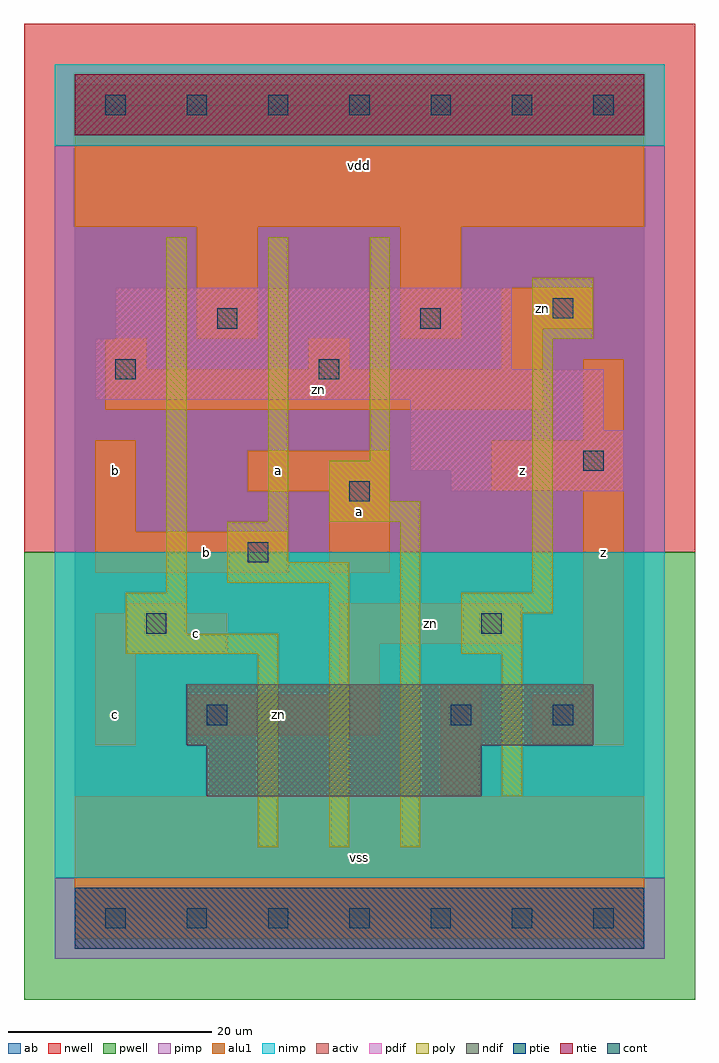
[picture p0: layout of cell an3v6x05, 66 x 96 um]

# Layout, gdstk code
import gdstk
lib = gdstk.Library(unit=1e-6, precision=1e-09)
def R(c, l, rs):  # rectangles x0, y0, x1, y1
    for r in rs: c.add(gdstk.rectangle(r[:2], r[2:], *l))
def A(c, l, x, y, w, h, nx, ny, dx, dy):  # array of equal rectangles
    R(c, l, [(x+i*dx, y+j*dy, x+i*dx+w, y+j*dy+h) for i in range(nx) for j in range(ny)])
ndif = (3, 0)
pdif = (4, 0)
ntie = (5, 0)
ptie = (6, 0)
cont = (25, 0)
pwell = (41, 0)
nwell = (42, 0)
activ = (43, 0)
pimp = (44, 0)
nimp = (45, 0)
poly = (46, 0)
alu1 = (49, 0)
ab = (63, 0)

an3v6x05 = lib.new_cell('an3v6x05')
R(an3v6x05, ndif, [(13,12,40,17), (11,17,51,23)])
R(an3v6x05, pdif, [(37,42,54,44), (33,44,54,48), (33,48,52,51), (2,51,52,54), (2,54,43,57), (4,57,43,62)])
R(an3v6x05, ntie, [(0,77,56,83)])
R(an3v6x05, ptie, [(0,-3,56,3)])
A(an3v6x05, cont, 3, -1, 2, 2, 7, 2, 8, 80)
R(an3v6x05, cont, [(13,19,15,21), (37,19,39,21), (47,19,49,21), (7,28,9,30), (40,28,42,30), (17,35,19,37), (27,41,29,43), (50,44,52,46), (4,53,6,55), (24,53,26,55), (14,58,16,60), (34,58,36,60), (47,59,49,61)])
R(an3v6x05, pwell, [(-5,-8,61,36)])
R(an3v6x05, nwell, [(-5,36,61,88)])
R(an3v6x05, activ, [(0,-3,56,3), (13,12,40,17), (11,17,51,23), (37,42,54,44), (33,44,54,48), (33,48,52,51), (2,51,52,54), (2,54,43,57), (4,57,43,62), (0,77,56,83)])
R(an3v6x05, pimp, [(-2,-4,58,4), (-2,36,58,76)])
R(an3v6x05, nimp, [(-2,4,58,36), (-2,76,58,84)])
R(an3v6x05, poly, [(18,7,20,26), (25,7,27,33), (32,7,34,39), (42,12,44,26), (5,26,20,28), (38,26,44,30), (5,28,11,32), (38,30,47,32), (9,32,11,67), (45,32,47,57), (15,33,27,35), (15,35,21,39), (19,39,21,67), (25,39,34,41), (25,41,31,45), (29,45,31,67), (45,57,51,63)])
R(an3v6x05, alu1, [(0,-2,56,12), (36,12,40,23), (2,17,6,26), (45,17,54,22), (11,18,30,22), (26,22,30,27), (50,22,54,42), (2,26,15,30), (26,27,44,31), (5,30,11,31), (2,34,21,38), (25,34,31,42), (2,38,6,47), (17,42,31,46), (41,42,54,47), (50,47,54,55), (3,50,46,54), (3,54,7,57), (23,54,27,57), (42,54,46,58), (12,57,18,68), (32,57,38,68), (42,58,51,62), (0,68,56,82)])
R(an3v6x05, ab, [(0,0,56,80)])
an3v6x05.add(gdstk.Label('zn', (20,20), layer=49, texttype=0))
an3v6x05.add(gdstk.Label('zn', (35,29), layer=49, texttype=0))
an3v6x05.add(gdstk.Label('zn', (24,52), layer=49, texttype=0))
an3v6x05.add(gdstk.Label('zn', (46,60), layer=49, texttype=0))
an3v6x05.add(gdstk.Label('c', (4,20), layer=49, texttype=0))
an3v6x05.add(gdstk.Label('b', (4,44), layer=49, texttype=0))
an3v6x05.add(gdstk.Label('b', (13,36), layer=49, texttype=0))
an3v6x05.add(gdstk.Label('c', (12,28), layer=49, texttype=0))
an3v6x05.add(gdstk.Label('a', (20,44), layer=49, texttype=0))
an3v6x05.add(gdstk.Label('vss', (28,6), layer=49, texttype=0))
an3v6x05.add(gdstk.Label('a', (28,40), layer=49, texttype=0))
an3v6x05.add(gdstk.Label('vdd', (28,74), layer=49, texttype=0))
an3v6x05.add(gdstk.Label('z', (52,36), layer=49, texttype=0))
an3v6x05.add(gdstk.Label('z', (44,44), layer=49, texttype=0))

lib.write_gds('an3v6x05.gds')
